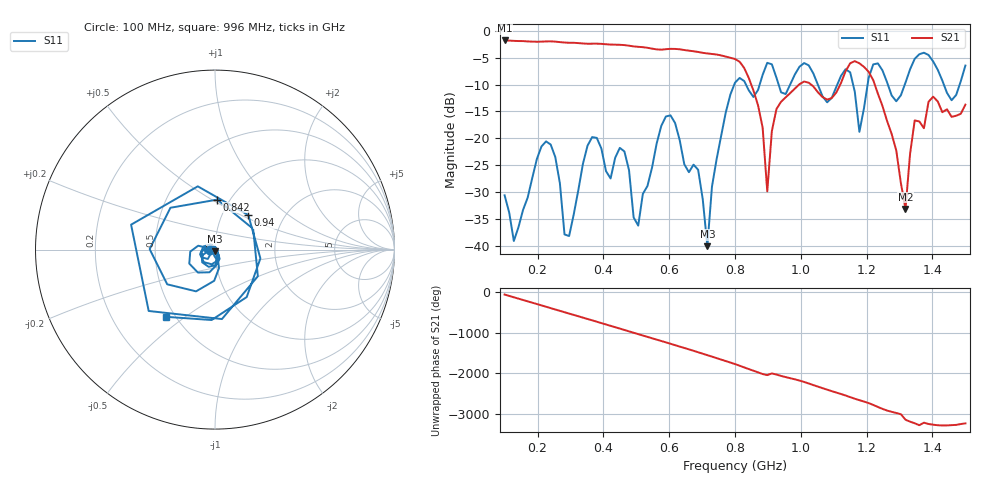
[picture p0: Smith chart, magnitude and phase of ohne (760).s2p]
! NanoVNA-App
! Date: 2025-09-25 14:26:43
! Start: 100MHz Stop: 1,5GHz Points: 101
! S-Parameter data: F S11 S21 S12 S22
# Hz S RI R 50
!  Frequency  S11_Real  S11_Imag  S21_Real  S21_Imag  S12_Real  S12_Imag  S22_Real  S22_Imag
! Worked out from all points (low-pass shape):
!   101 points, 100 MHz to 1.5 GHz, reference 50 ohm
!   highest |S21| = -1.79 dB at 100 MHz (marker M1); lowest = -33.2 dB at 1.318 GHz (marker M2)
!   |S21| within 3 dB of the highest: start of sweep to 771.6 MHz
!   lowest |S11| = -40.1 dB at 716 MHz (marker M3), VSWR 1.02, Z = 49.8 - j0.969 ohm
!   |S11| at or under -10 dB: start of sweep to 797.8 MHz; 833.2 MHz to 875.1 MHz (41.88 MHz wide, 4.9 % of centre); 1.052 GHz to 1.111 GHz (59.38 MHz wide, 5.49 % of centre) (the widest 3 of 7)
!   S12 and S22 are empty: the file has one direction only
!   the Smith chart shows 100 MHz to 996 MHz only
!   S11 on the Smith chart (normalised r, x): 100 MHz: 0.94, -0.01; 842 MHz: 0.88, +0.53; 940 MHz: 1.33, +0.55; 996 MHz: 0.45, -0.43
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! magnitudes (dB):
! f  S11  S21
! 100 MHz  -30.6  -1.8
! 128 MHz  -39.1  -1.9
! 226 MHz  -20.6  -2.0
! 296 MHz  -38.2  -2.2
! 338 MHz  -24.8  -2.4
! 464 MHz  -22.5  -2.7
! 506 MHz  -36.3  -3.0
! 576 MHz  -17.7  -3.5
! 688 MHz  -25.9  -3.9
! 716 MHz  -40.1  -4.2
! 800 MHz  -9.7  -5.2
! 842 MHz  -11.1  -8.8
! 898 MHz  -6.0  -29.9
! 940 MHz  -11.5  -13.2
! 996 MHz  -6.7  -9.9
! 1.038 GHz  -7.9  -10.4
! 1.178 GHz  -18.8  -6.1
! 1.22 GHz  -6.3  -9.2
! 1.276 GHz  -12.0  -19.2
! 1.318 GHz  -9.7  -33.2
! 1.346 GHz  -5.2  -16.7
! 1.5 GHz  -6.5  -13.7
